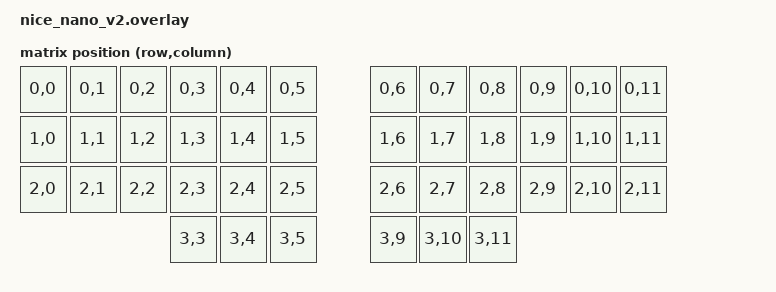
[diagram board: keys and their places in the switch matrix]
/*
 * Right half matrix transform for nice!nano v2.
 *
 * The physical PCB routes thumb keys to local row 3, cols 3-5.
 * With col-offset=6, those become RC(3,9), RC(3,10), RC(3,11).
 * The standard corne transform expects them at RC(3,6..8) (local cols 0-2),
 * so we override the full map with the thumb row corrected.
 *
 * All other keys use col-offset=6 normally:
 *   local col N -> global col N+6 -> found in map -> correct position index.
 */

#include <dt-bindings/zmk/matrix_transform.h>

&default_transform {
    col-offset = <6>;
    columns = <12>;
    rows = <4>;
    map = <
RC(0,0) RC(0,1) RC(0,2) RC(0,3) RC(0,4) RC(0,5)  RC(0,6) RC(0,7) RC(0,8) RC(0,9) RC(0,10) RC(0,11)
RC(1,0) RC(1,1) RC(1,2) RC(1,3) RC(1,4) RC(1,5)  RC(1,6) RC(1,7) RC(1,8) RC(1,9) RC(1,10) RC(1,11)
RC(2,0) RC(2,1) RC(2,2) RC(2,3) RC(2,4) RC(2,5)  RC(2,6) RC(2,7) RC(2,8) RC(2,9) RC(2,10) RC(2,11)
                        RC(3,3) RC(3,4) RC(3,5)  RC(3,9) RC(3,10) RC(3,11)
    >;
};
